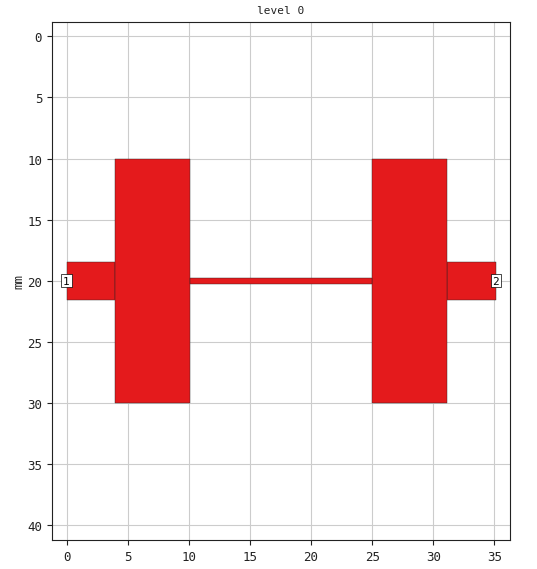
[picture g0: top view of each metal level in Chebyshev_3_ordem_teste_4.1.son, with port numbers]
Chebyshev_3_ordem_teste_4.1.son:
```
FTYP SONPROJ 13 ! Sonnet Project File
VER 15.53.lite
HEADER
LIC SL290709.106431 847bebfebdba DESKTOP-1CMJ3DP Arihe
DAT 06/15/2019 23:57:39
BUILT_BY_CREATED xgeom 15.53-Lite 04/13/2019 20:59:13
BUILT_BY_SAVED xgeom 15.53-Lite
MDATE 06/15/2019 23:57:39
HDATE 06/15/2019 23:57:39
END HEADER
DIM
FREQ GHZ
RSVY OHMM
IND NH
LNG MM
ANG DEG
CON /OH
CAP PF
RES OH
END DIM
FREQ
ABS 1.0e-9 3.0 
END FREQ
CONTROL
ABS
OPTIONS  -dj 
SPEED 0
CACHE_ABS 1
TARG_ABS 300
Q_ACC N
END CONTROL
GEO
DRP1 LEFT LINK
POLY 12 1
1
DRP1 RIGHT LINK
POLY 14 1
0
TMET "Lossless" 0 SUP 0 0 0 0
BMET "Lossless" 0 SUP 0 0 0 0
MET "Copper" 1 NOR 58000000 0 0.0347 
BOX 1 35.1 40 702 800 20 0
      20 1 1 0 0 0 0 "Air"
      1.5306 4.1 1 0.02 0 0 0 "FR-4"
LORGN 0 40 U 
POR1 STD
POLY 12 1
3
1 50 0 0 0 -3.549999995e-007 20 
POR1 STD
POLY 14 1
1
2 50 0 0 0 35.09999964 20 
NUM 5
0 5 0 N 12 1 1 100 100 0 0 0 Y
-3.549999995e-007 18.45
3.999999645 18.45
3.999999645 21.55
-3.549999995e-007 21.55
-3.549999995e-007 18.45
END
0 5 0 N 14 1 1 100 100 0 0 0 Y
31.09999964 18.45
35.09999964 18.45
35.09999964 21.55
31.09999964 21.55
31.09999964 18.45
END
0 5 0 N 16 1 1 100 100 0 0 0 Y
3.999999645 10
10.09999965 10
10.09999965 30
3.999999645 30
3.999999645 10
END
0 5 0 N 17 1 1 100 100 0 0 0 Y
24.99999964 10
31.09999965 10
31.09999965 30
24.99999964 30
24.99999964 10
END
0 5 0 N 18 1 1 100 100 0 0 0 Y
10.09999964 19.75
24.99999964 19.75
24.99999964 20.25
10.09999964 20.25
10.09999964 19.75
END
END GEO
OPT
MAX 100
VARS
END
END OPT
VARSWP
END VARSWP
QSG
IMPORT NO
EXTRA_METAL NO
UNITS YES
ALIGN NO
REF NO
VIEW_RES NO
METALS YES
USED YES
END QSG
```
